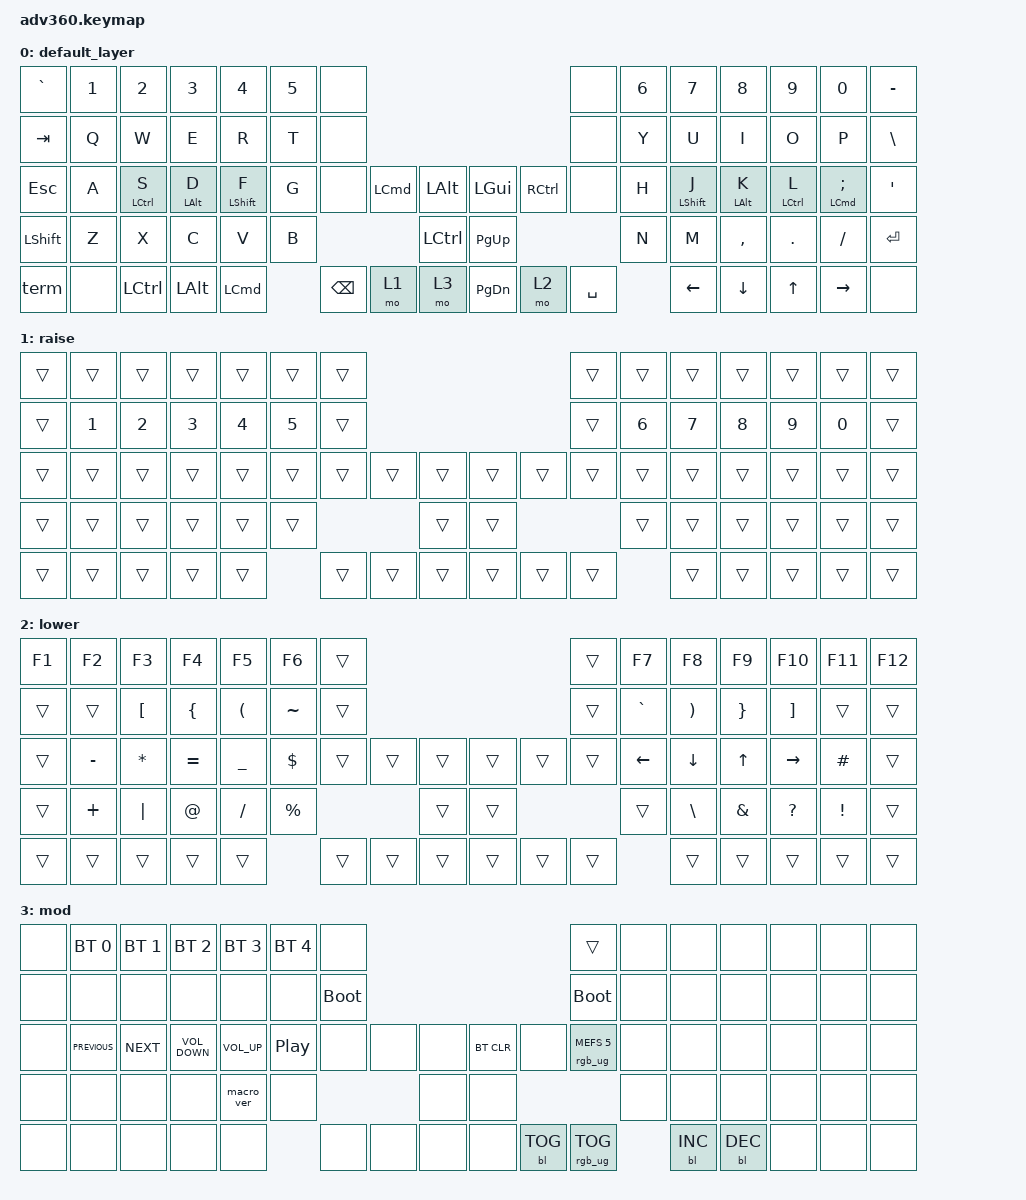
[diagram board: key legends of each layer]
#include <behaviors.dtsi>
#include <dt-bindings/zmk/backlight.h>
#include <dt-bindings/zmk/bt.h>
#include <dt-bindings/zmk/keys.h>
#include <dt-bindings/zmk/rgb.h>

/ {
    behaviors {
        #include "macros.dtsi"
      #include "version.dtsi"
      #ifndef VERSION_MACRO

        macro_ver: macro_ver {
            compatible = "zmk,behavior-macro";
            label = "macro_version";
            #binding-cells = <0>;
            bindings = <&kp RET>;
        };

        term: term {
            compatible = "zmk,behavior-macro";
            #binding-cells = <0>;
            bindings =
                <&macro_press>,
                <&kp LEFT_CONTROL>,
                <&macro_tap>,
                <&kp T>,
                <&macro_release>,
                <&kp LEFT_CONTROL>;

            label = "TERM";
        };

        #endif

        hm: homerow_mods {
            compatible = "zmk,behavior-hold-tap";
            label = "HOMEROW_MODS";
            #binding-cells = <2>;
            tapping-term-ms = <200>;
            quick_tap_ms = <175>;
            flavor = "tap-preferred";
            bindings = <&kp>, <&kp>;
        };
    };

    macros {
    };

    keymap {
        compatible = "zmk,keymap";

        default_layer {
            bindings = <
&kp GRAVE  &kp N1  &kp N2       &kp N3          &kp N4            &kp N5  &none                                                    &none      &kp N6  &kp N7            &kp N8          &kp N9              &kp N0         &kp MINUS
&kp TAB    &kp Q   &kp W        &kp E           &kp R             &kp T   &none                                                    &none      &kp Y   &kp U             &kp I           &kp O               &kp P          &kp BSLH
&kp ESC    &kp A   &hm LCTRL S  &hm LEFT_ALT D  &hm LEFT_SHIFT F  &kp G   &none     &kp LCMD  &kp LALT       &kp LGUI   &kp RCTRL  &none      &kp H   &hm LEFT_SHIFT J  &hm LEFT_ALT K  &hm LEFT_CONTROL L  &hm LCMD SEMI  &kp SQT
&kp LSHFT  &kp Z   &kp X        &kp C           &kp V             &kp B                       &kp LCTRL      &kp PG_UP                        &kp N   &kp M             &kp COMMA       &kp DOT             &kp FSLH       &kp ENTER
&term      &none   &kp LCTRL    &kp LEFT_ALT    &kp LEFT_COMMAND          &kp BSPC  &mo 1     &mo 3          &kp PG_DN  &mo 2      &kp SPACE          &kp LEFT          &kp DOWN        &kp UP_ARROW        &kp RIGHT      &none
            >;
        };

        raise {
            bindings = <
&trans  &trans        &trans        &trans        &trans        &trans  &trans                                      &trans  &trans        &trans  &trans  &trans  &trans  &trans
&trans  &kp NUMBER_1  &kp NUMBER_2  &kp NUMBER_3  &kp NUMBER_4  &kp N5  &trans                                      &trans  &kp NUMBER_6  &kp N7  &kp N8  &kp N9  &kp N0  &trans
&trans  &trans        &trans        &trans        &trans        &trans  &trans  &trans  &trans      &trans  &trans  &trans  &trans        &trans  &trans  &trans  &trans  &trans
&trans  &trans        &trans        &trans        &trans        &trans                  &trans      &trans                  &trans        &trans  &trans  &trans  &trans  &trans
&trans  &trans        &trans        &trans        &trans                &trans  &trans  &trans      &trans  &trans  &trans                &trans  &trans  &trans  &trans  &trans
            >;
        };

        lower {
            bindings = <
&kp F1  &kp F2     &kp F3            &kp F4          &kp F5                &kp F6       &trans                                      &trans  &kp F7     &kp F8                 &kp F9           &kp F10            &kp F11          &kp F12
&trans  &trans     &kp LEFT_BRACKET  &kp LEFT_BRACE  &kp LEFT_PARENTHESIS  &kp TILDE    &trans                                      &trans  &kp GRAVE  &kp RIGHT_PARENTHESIS  &kp RIGHT_BRACE  &kp RIGHT_BRACKET  &trans           &trans
&trans  &kp MINUS  &kp STAR          &kp EQUAL       &kp UNDER             &kp DOLLAR   &trans  &trans  &trans      &trans  &trans  &trans  &kp LEFT   &kp DOWN               &kp UP           &kp RIGHT          &kp HASH         &trans
&trans  &kp PLUS   &kp PIPE          &kp AT_SIGN     &kp SLASH             &kp PERCENT                  &trans      &trans                  &trans     &kp BACKSLASH          &kp AMPERSAND    &kp QUESTION       &kp EXCLAMATION  &trans
&trans  &trans     &trans            &trans          &trans                             &trans  &trans  &trans      &trans  &trans  &trans             &trans                 &trans           &trans             &trans           &trans
            >;
        };

        mod {
            bindings = <
&none  &bt BT_SEL 0    &bt BT_SEL 1  &bt BT_SEL 2       &bt BT_SEL 3     &bt BT_SEL 4  &none                                                  &trans                  &none  &none       &none       &none  &none  &none
&none  &none           &none         &none              &none            &none         &bootloader                                            &bootloader             &none  &none       &none       &none  &none  &none
&none  &kp C_PREVIOUS  &kp C_NEXT    &kp C_VOLUME_DOWN  &kp C_VOLUME_UP  &kp C_PP      &none        &none  &none      &bt BT_CLR  &none       &rgb_ug RGB_MEFS_CMD 5  &none  &none       &none       &none  &none  &none
&none  &none           &none         &none              &macro_ver       &none                             &none      &none                                           &none  &none       &none       &none  &none  &none
&none  &none           &none         &none              &none                          &none        &none  &none      &none       &bl BL_TOG  &rgb_ug RGB_TOG                &bl BL_INC  &bl BL_DEC  &none  &none  &none
            >;
        };
    };
};
